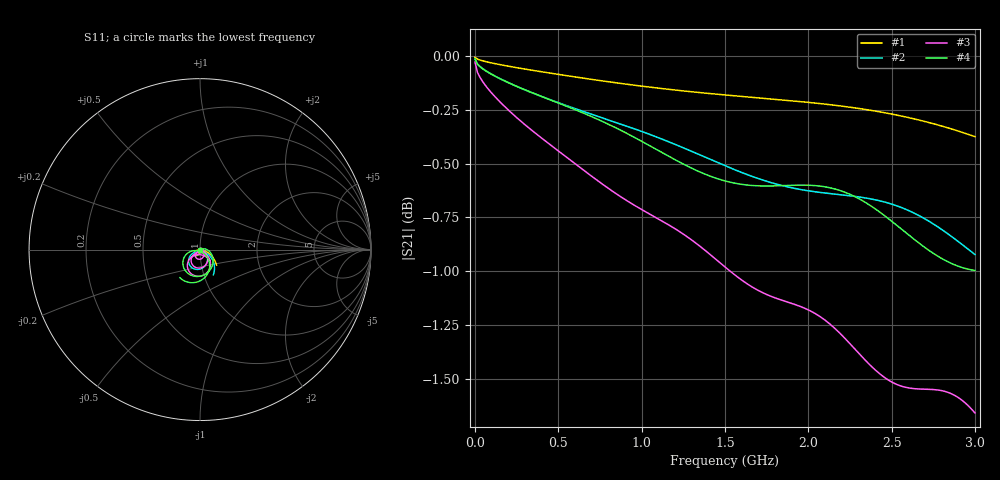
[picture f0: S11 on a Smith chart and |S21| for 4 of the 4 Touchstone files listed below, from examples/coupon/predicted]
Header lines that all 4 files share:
! SMA pads enter as parallel-plate C; connector bodies are not modelled, so compare through the FIX2X 2x-thru.
# HZ S RI R 50
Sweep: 50 kHz to 3 GHz
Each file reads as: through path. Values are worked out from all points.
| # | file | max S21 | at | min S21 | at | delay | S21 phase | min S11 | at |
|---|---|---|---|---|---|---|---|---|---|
| 1 | FIX2X.s2p | -0.01 dB | 50 kHz | -0.4 dB | 3 GHz | 122 ps | -66 deg at 1.5 GHz | -64.7 dB | 50 kHz |
| 2 | THRU50.s2p | -0.01 dB | 50 kHz | -0.9 dB | 3 GHz | 304 ps | -166 deg at 1.5 GHz | -56.2 dB | 50 kHz |
| 3 | THRU100.s2p | -0.03 dB | 50 kHz | -1.7 dB | 3 GHz | 608 ps | 29 deg at 1.5 GHz | -50.0 dB | 50 kHz |
| 4 | VIA.s2p | -0.01 dB | 50 kHz | -1.0 dB | 3 GHz | 367 ps | 161 deg at 1.5 GHz | -55.9 dB | 50 kHz |
